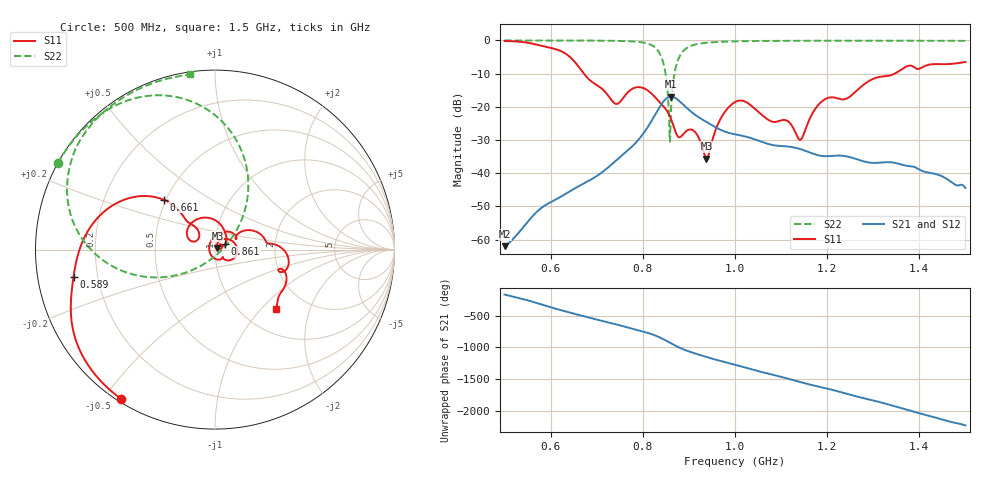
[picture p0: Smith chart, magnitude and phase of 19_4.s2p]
! TOUCHSTONE file generated by CST MICROWAVE STUDIO
! Date and time: Wed Oct 28 19:17:00 2020
! Project name: Scenario_1_Circular_Tissue_out_of_Line.cst
! Parameters = {dy1=-33.862; L_HA=400; MT=2.54; Rad_Dielectric=30; Rad_Lower=7.3; Rad_Upper=30; a_HA=580; a_WG=246; b_HA=500; b_WG=121; c_HA=0; c_WG=187; d_feed=85; dx1=693; h_feed=15; h_lower=18; h_upper=40}
! Header version: 2018
! Port assignment regex: !\s*Touchstone port\s*([0-9]+)\s*=\s*(CST MWS port|CST DS port)\s*([0-9]+|Zmin|Zmax)\s*\(\"(.*)\"\)(\s*mode\s*([0-9]+))?.*
! Touchstone port assignment:
! Touchstone port 1 = CST MWS port 1 ("")
! Touchstone port 2 = CST MWS port 2 ("")
# GHz S DB R 50
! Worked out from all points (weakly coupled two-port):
!   1001 points, 500 MHz to 1.5 GHz, reference 50 ohm
!   highest |S21| = -16.90 dB at 861 MHz (marker M1); lowest = -62.0 dB at 500 MHz (marker M2)
!   lowest |S11| = -35.6 dB at 938 MHz (marker M3), VSWR 1.03, Z = 51.4 + j0.949 ohm
!   |S11| at or under -10 dB: 672 MHz to 1.347 GHz (674.5 MHz wide, 66.8 % of centre)
!   |S22| runs from -30.5 to 0.0 dB; largest |S21 - S12| = 0.00019
!   S11 on the Smith chart (normalised r, x): 500 MHz: 0.01, -0.55; 589 MHz: 0.11, -0.09; 661 MHz: 0.49, +0.32; 861 MHz: 1.12, +0.07; 1.5 GHz: 1.43, -1.21
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0.5  -0.16 -122.3  -61.98 -166.4  -61.98 -166.4  -0.01 151.1
0.589  -1.91 -169.2  -49.59 15.4  -49.59 15.4  -0.02 145.0
0.661  -7.97 135.8  -43.90 -129.1  -43.90 -129.1  -0.04 139.0
0.667  -9.08 133.6  -43.44 -140.7  -43.44 -140.7  -0.04 138.4
0.741  -19.09 144.8  -36.31 84.2  -36.31 84.2  -0.13 129.2
0.779  -14.44 144.2  -31.63 10.6  -31.63 10.6  -0.32 120.8
0.834  -18.25 66.3  -20.65 -115.4  -20.65 -115.4  -3.31 84.1
0.848  -20.40 48.5  -17.87 -165.6  -17.87 -165.6  -8.97 59.1
0.856  -22.08 36.4  -17.05 162.2  -17.05 162.2  -20.36 31.0
0.861  -23.61 29.5  -16.90 141.8  -16.90 141.8  -21.51 -123.0
0.869  -26.76 25.6  -17.21 110.4  -17.21 110.4  -9.65 -152.2
0.881  -29.13 43.2  -18.47 68.4  -18.47 68.4  -4.50 -172.1
0.91  -27.17 22.6  -22.06 -10.3  -22.06 -10.3  -1.36 163.0
0.938  -35.58 33.7  -24.57 -73.6  -24.57 -73.6  -0.70 152.2
0.968  -23.78 57.7  -26.88 -135.2  -26.88 -135.2  -0.42 145.5
1  -18.58 14.1  -28.29 163.8  -28.29 163.8  -0.27 140.4
1.113  -24.19 -64.3  -31.93 -52.5  -31.93 -52.5  -0.12 128.7
1.141  -29.96 -169.1  -32.70 -108.7  -32.70 -108.7  -0.10 126.4
1.167  -22.25 88.6  -34.00 -157.8  -34.00 -157.8  -0.09 124.3
1.197  -17.59 46.5  -34.88 152.0  -34.88 152.0  -0.09 121.9
1.334  -10.63 6.9  -36.67 -106.6  -36.67 -106.6  -0.09 111.5
1.5  -6.50 -44.0  -44.45 -76.1  -44.42 -76.3  -0.13 98.0
